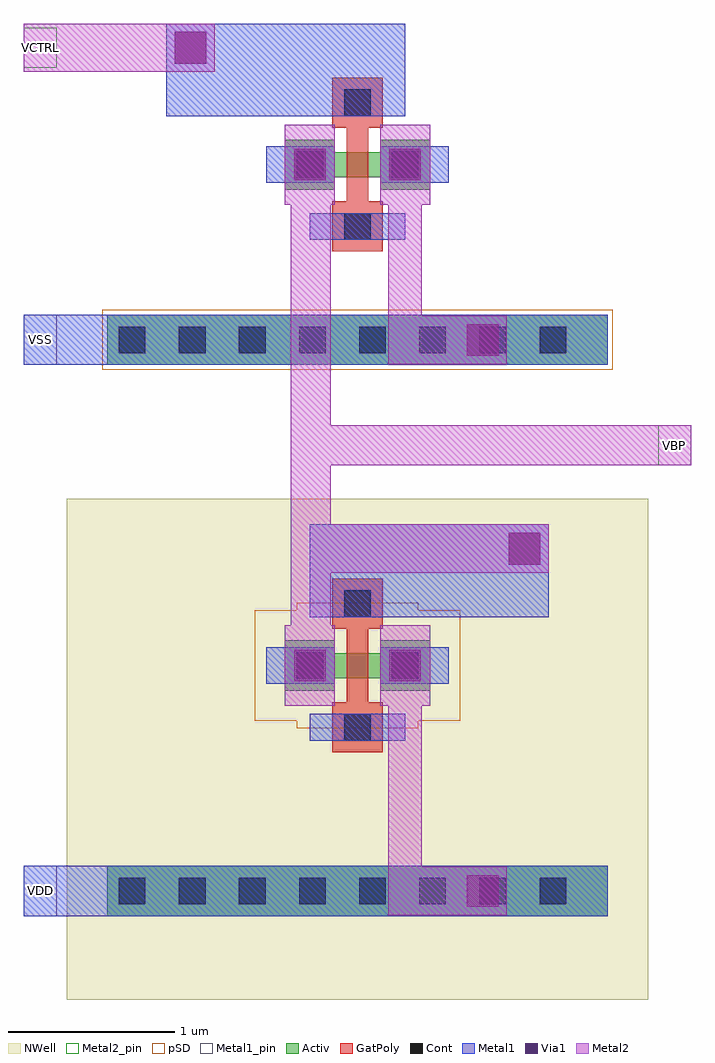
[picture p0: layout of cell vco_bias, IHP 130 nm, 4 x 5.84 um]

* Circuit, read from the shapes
.subckt vco_bias VBP VCTRL VDD VSS
XM1 VSS VCTRL VBP VSS sg13_lv_nmos w=0.15u l=0.13u
XM2 VDD VBP VBP VDD sg13_lv_pmos w=0.15u l=0.13u
.ends

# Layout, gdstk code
import gdstk
lib = gdstk.Library(unit=1e-6, precision=1e-09)
def R(c, l, rs):  # rectangles x0, y0, x1, y1
    for r in rs: c.add(gdstk.rectangle(r[:2], r[2:], *l))
def A(c, l, x, y, w, h, nx, ny, dx, dy):  # array of equal rectangles
    R(c, l, [(x+i*dx, y+j*dy, x+i*dx+w, y+j*dy+h) for i in range(nx) for j in range(ny)])
Activ = (1, 0)
GatPoly = (5, 0)
Cont = (6, 0)
Metal1 = (8, 0)
Metal1_pin = (8, 2)
Metal2 = (10, 0)
Metal2_pin = (10, 2)
pSD = (14, 0)
Via1 = (19, 0)
NWell = (31, 0)

dev_p_w0p15_l0p13_ng1_no = lib.new_cell('dev_p_w0p15_l0p13_ng1_noguard_sdvia')
R(dev_p_w0p15_l0p13_ng1_no, Activ, [(-0.435,-0.15,-0.135,-0.075), (0.135,-0.15,0.435,-0.075), (-0.435,-0.075,0.435,0.075), (-0.435,0.075,-0.135,0.15), (0.135,0.075,0.435,0.15)])
R(dev_p_w0p15_l0p13_ng1_no, GatPoly, [(-0.15,-0.52,0.15,-0.22), (-0.065,-0.22,0.065,0.22), (-0.15,0.22,0.15,0.52)])
R(dev_p_w0p15_l0p13_ng1_no, Cont, [(-0.08,-0.45,0.08,-0.29), (-0.365,-0.08,-0.205,0.08), (0.205,-0.08,0.365,0.08), (-0.08,0.29,0.08,0.45)])
R(dev_p_w0p15_l0p13_ng1_no, Metal1, [(-0.285,-0.45,0.285,-0.29), (-0.545,-0.11,-0.135,0.11), (0.135,-0.11,0.545,0.11), (-0.285,0.29,0.285,0.45)])
R(dev_p_w0p15_l0p13_ng1_no, Metal2, [(-0.435,-0.24,-0.135,0.24), (0.135,-0.24,0.435,0.24)])
R(dev_p_w0p15_l0p13_ng1_no, pSD, [(-0.365,-0.375,0.365,-0.33), (-0.615,-0.33,0.615,0.33), (-0.365,0.33,0.365,0.375)])
R(dev_p_w0p15_l0p13_ng1_no, Via1, [(-0.38,-0.095,-0.19,0.095), (0.19,-0.095,0.38,0.095)])
R(dev_p_w0p15_l0p13_ng1_no, NWell, [(-0.745,-0.46,0.745,0.46)])
dev_p_w0p15_l0p13_ng1_no.add(gdstk.Label('D', (-0.285,0), layer=8, texttype=25))
dev_p_w0p15_l0p13_ng1_no.add(gdstk.Label('S', (0.285,0), layer=8, texttype=25))
dev_p_w0p15_l0p13_ng1_no.add(gdstk.Label('G', (0,0.37), layer=8, texttype=25))

dev_n_w0p15_l0p13_ng1_no = lib.new_cell('dev_n_w0p15_l0p13_ng1_noguard_sdvia')
R(dev_n_w0p15_l0p13_ng1_no, Activ, [(-0.435,-0.15,-0.135,-0.075), (0.135,-0.15,0.435,-0.075), (-0.435,-0.075,0.435,0.075), (-0.435,0.075,-0.135,0.15), (0.135,0.075,0.435,0.15)])
R(dev_n_w0p15_l0p13_ng1_no, GatPoly, [(-0.15,-0.52,0.15,-0.22), (-0.065,-0.22,0.065,0.22), (-0.15,0.22,0.15,0.52)])
R(dev_n_w0p15_l0p13_ng1_no, Cont, [(-0.08,-0.45,0.08,-0.29), (-0.365,-0.08,-0.205,0.08), (0.205,-0.08,0.365,0.08), (-0.08,0.29,0.08,0.45)])
R(dev_n_w0p15_l0p13_ng1_no, Metal1, [(-0.285,-0.45,0.285,-0.29), (-0.545,-0.11,-0.135,0.11), (0.135,-0.11,0.545,0.11), (-0.285,0.29,0.285,0.45)])
R(dev_n_w0p15_l0p13_ng1_no, Metal2, [(-0.435,-0.24,-0.135,0.24), (0.135,-0.24,0.435,0.24)])
R(dev_n_w0p15_l0p13_ng1_no, Via1, [(-0.38,-0.095,-0.19,0.095), (0.19,-0.095,0.38,0.095)])
dev_n_w0p15_l0p13_ng1_no.add(gdstk.Label('D', (-0.285,0), layer=8, texttype=25))
dev_n_w0p15_l0p13_ng1_no.add(gdstk.Label('S', (0.285,0), layer=8, texttype=25))
dev_n_w0p15_l0p13_ng1_no.add(gdstk.Label('G', (0,0.37), layer=8, texttype=25))

vco_bias = lib.new_cell('vco_bias')
R(vco_bias, Activ, [(0,0.5,3,0.8), (0,3.8,3,4.1)])
A(vco_bias, Cont, 0.07, 0.57, 0.16, 0.16, 8, 2, 0.36, 3.3)
R(vco_bias, Metal1, [(-0.5,0.5,3,0.8), (1.215,2.29,2.645,2.845), (-0.5,3.8,3,4.1), (0.355,5.29,1.785,5.845)])
R(vco_bias, Metal1_pin, [(-0.5,0.5,-0.3,0.8), (-0.5,3.8,-0.3,4.1)])
R(vco_bias, Metal2, [(1.685,0.505,2.395,0.795), (1.685,0.795,1.885,2.15), (1.1,1.85,1.34,2.555), (1.1,2.555,2.645,2.845), (1.1,2.845,1.34,3.2), (1.1,3.2,3.5,3.44), (1.1,3.44,1.34,5.15), (1.685,3.805,2.395,4.095), (1.685,4.095,1.885,5.15), (-0.5,5.555,0.645,5.845)])
R(vco_bias, Metal2_pin, [(3.3,3.2,3.5,3.44), (-0.5,5.58,-0.3,5.82)])
R(vco_bias, pSD, [(-0.03,3.77,3.03,4.13)])
R(vco_bias, Via1, [(2.155,0.555,2.345,0.745), (2.405,2.605,2.595,2.795), (2.155,3.855,2.345,4.045), (0.405,5.605,0.595,5.795)])
R(vco_bias, NWell, [(-0.24,0,3.24,3)])
vco_bias.add(gdstk.Reference(dev_p_w0p15_l0p13_ng1_no, (1.5,2)))
vco_bias.add(gdstk.Reference(dev_n_w0p15_l0p13_ng1_no, (1.5,5)))
vco_bias.add(gdstk.Label('VCTRL', (-0.4,5.7), layer=10, texttype=25))
vco_bias.add(gdstk.Label('VBP', (3.4,3.32), layer=10, texttype=25))
vco_bias.add(gdstk.Label('VDD', (-0.4,0.65), layer=8, texttype=25))
vco_bias.add(gdstk.Label('VSS', (-0.4,3.95), layer=8, texttype=25))

lib.write_gds('vco_bias.gds')
